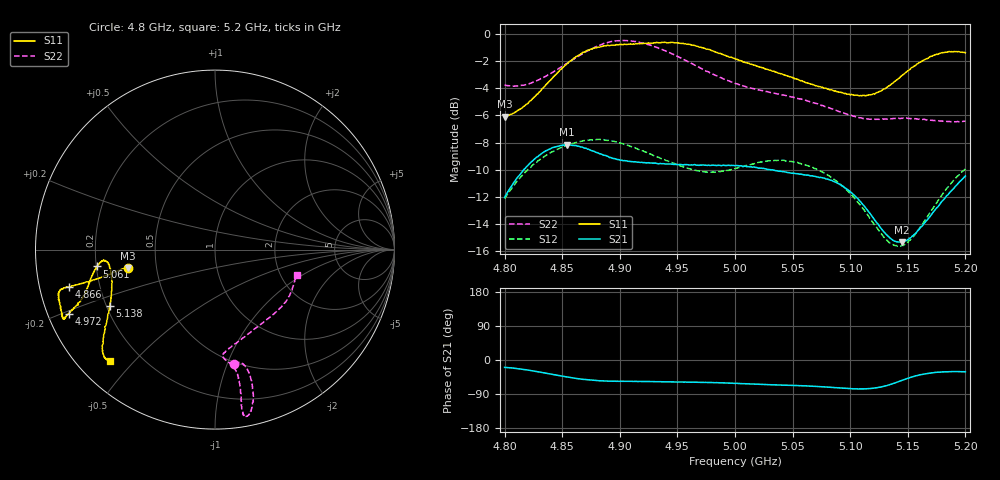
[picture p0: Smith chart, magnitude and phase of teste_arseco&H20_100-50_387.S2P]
! Network Analyzer HP8722D
! Hewlett-Packard
! Data name: Linha & Wilkinson
! Saver's name: Rodrigo Anjos
! Comments: Teste da utilização de aquisição
! continua pelo VNA HP8722D
! Time and date: 6/5/2025 15:47
!  Frequency  S11  S21  S12  S22
# HZ  S  MA R 50
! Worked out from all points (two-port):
!   401 points, 4.8 GHz to 5.2 GHz, reference 50 ohm
!   highest |S21| = -8.16 dB at 4.854 GHz (marker M1); lowest = -15.3 dB at 5.145 GHz (marker M2)
!   |S21| within 3 dB of the highest: 4.806 GHz to 5.093 GHz (286.3 MHz wide, 5.78 % of centre); 5.191921 GHz to end of sweep
!   lowest |S11| = -6.1 dB at 4.8 GHz (marker M3), VSWR 2.97, Z = 17 - j4.62 ohm
!   |S11| at or under -10 dB: nowhere
!   |S22| runs from -6.5 to -0.5 dB; largest |S21 - S12| = 0.62
!   S11 on the Smith chart (normalised r, x): 4.8 GHz: 0.34, -0.09; 4.866 GHz: 0.09, -0.12; 4.972 GHz: 0.06, -0.21; 5.061 GHz: 0.20, -0.07; 5.138 GHz: 0.21, -0.24; 5.2 GHz: 0.09, -0.43
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4.8e9  0.4962 -168.1  0.2507 -19.5  0.248 -140.6  0.6473 -80.4
4.826e9  0.587 -167.2  0.3467 -29.4  0.3325 -144.3  0.6677 -75.6
4.854e9  0.775 -165.7  0.3908 -44.9  0.389 -149.7  0.7791 -74.6
4.866e9  0.8421 -165.7  0.3837 -50.1  0.4022 -151.7  0.8372 -75.2
4.867e9  0.849 -165.8  0.3839 -50.7  0.4031 -151.9  0.8422 -75.3
4.879e9  0.8899 -165.4  0.3672 -54.2  0.408 -153.9  0.8952 -76.6
4.901e9  0.9147 -162.2  0.3427 -56.1  0.3963 -156.6  0.9453 -79.1
4.934e9  0.9278 -156.3  0.333 -57.4  0.3514 -155.4  0.8842 -80.4
4.953e9  0.9218 -155.4  0.3308 -58.0  0.3263 -151.9  0.8158 -79.8
4.972e9  0.8882 -156.3  0.3295 -58.9  0.3116 -146.1  0.7405 -79.7
5e9  0.8112 -158.8  0.3273 -61.7  0.3197 -137.1  0.6574 -81.3
5.035e9  0.7236 -165.1  0.314 -65.6  0.3428 -134.2  0.6041 -85.6
5.061e9  0.6634 -171.9  0.3029 -68.2  0.3299 -136.2  0.5703 -84.0
5.067e9  0.6523 -172.9  0.3007 -69.0  0.3234 -136.6  0.5597 -82.6
5.082e9  0.6228 -174.5  0.2906 -71.8  0.2996 -138.1  0.5345 -77.1
5.101e9  0.5986 -172.0  0.2608 -75.7  0.2562 -138.7  0.5016 -66.6
5.116e9  0.5962 -165.4  0.222 -75.9  0.2134 -135.5  0.4858 -55.8
5.134e9  0.6452 -154.2  0.1784 -65.5  0.1706 -120.9  0.487 -43.3
5.138e9  0.6659 -151.7  0.1734 -61.2  0.1673 -115.7  0.4885 -40.7
5.145e9  0.7035 -148.2  0.1714 -53.4  0.1668 -106.3  0.4889 -37.0
5.174e9  0.839 -138.4  0.2259 -32.8  0.2359 -80.2  0.4796 -23.8
5.2e9  0.8526 -133.5  0.3 -31.2  0.3184 -76.8  0.4772 -17.5
